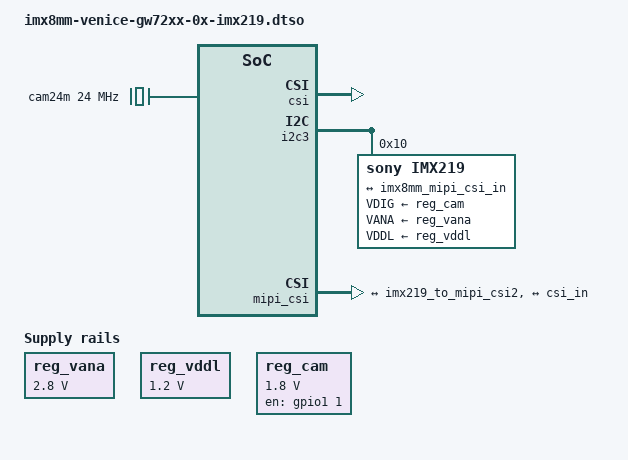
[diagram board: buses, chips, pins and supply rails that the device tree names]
// SPDX-License-Identifier: (GPL-2.0+ OR MIT)
/*
 * Copyright 2022 Gateworks Corporation
 */

#include <dt-bindings/gpio/gpio.h>

#include "imx8mm-pinfunc.h"

/dts-v1/;
/plugin/;

&{/} {
	compatible = "gw,imx8mm-gw72xx-0x", "fsl,imx8mm";

	reg_vana: regulator-2p8v {
		compatible = "regulator-fixed";
		regulator-name = "2P8V";
		regulator-min-microvolt = <2800000>;
		regulator-max-microvolt = <2800000>;
	};

	reg_vddl: regulator-1p2v {
		compatible = "regulator-fixed";
		regulator-name = "1P2V";
		regulator-min-microvolt = <1200000>;
		regulator-max-microvolt = <1200000>;
	};

	reg_cam: regulator-cam {
		pinctrl-names = "default";
		pinctrl-0 = <&pinctrl_reg_cam>;
		compatible = "regulator-fixed";
		regulator-name = "reg_cam";
		gpio = <&gpio1 1 GPIO_ACTIVE_HIGH>;
		enable-active-high;
		regulator-min-microvolt = <1800000>;
		regulator-max-microvolt = <1800000>;
	};

	cam24m: cam24m {
		compatible = "fixed-clock";
		#clock-cells = <0>;
		clock-frequency = <24000000>;
		clock-output-names = "cam24m";
	};
};

&csi {
	status = "okay";
};

&i2c3 {
	#address-cells = <1>;
	#size-cells = <0>;

	imx219: sensor@10 {
		compatible = "sony,imx219";
		reg = <0x10>;
		clocks = <&cam24m>;
		VDIG-supply = <&reg_cam>;
		VANA-supply = <&reg_vana>;
		VDDL-supply = <&reg_vddl>;

		port {
			/* MIPI CSI-2 bus endpoint */
			imx219_to_mipi_csi2: endpoint {
				remote-endpoint = <&imx8mm_mipi_csi_in>;
				clock-lanes = <0>;
				data-lanes = <1 2>;
				link-frequencies = /bits/ 64 <456000000>;
			};
		};
	};
};

&mipi_csi {
	status = "okay";

	ports {
		#address-cells = <1>;
		#size-cells = <0>;

		port@0 {
			reg = <0>;

			imx8mm_mipi_csi_in: endpoint {
				remote-endpoint = <&imx219_to_mipi_csi2>;
				data-lanes = <1 2>;
			};
		};

		port@1 {
			reg = <1>;

			imx8mm_mipi_csi_out: endpoint {
				remote-endpoint = <&csi_in>;
			};
		};
	};
};

&iomuxc {
	pinctrl_reg_cam: regcamgrp {
		fsl,pins = <
			MX8MM_IOMUXC_GPIO1_IO01_GPIO1_IO1	0x41
		>;
	};
};
